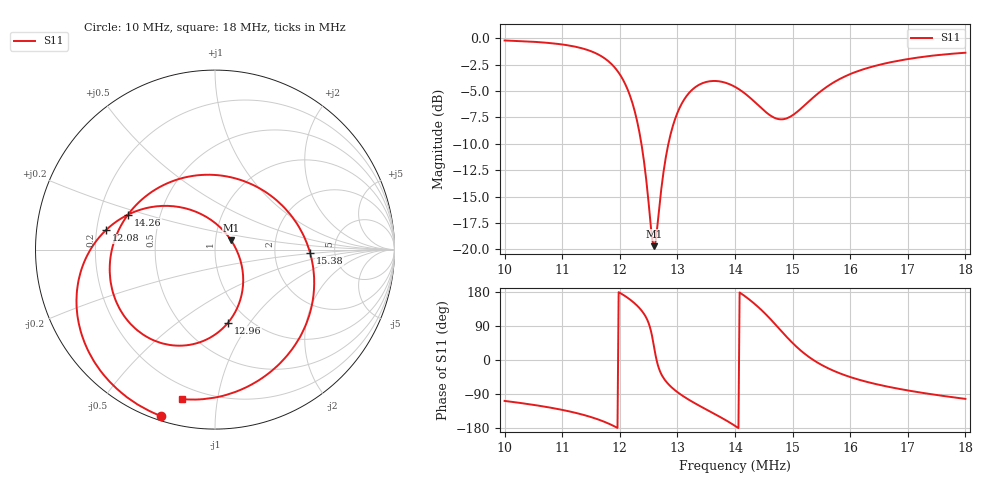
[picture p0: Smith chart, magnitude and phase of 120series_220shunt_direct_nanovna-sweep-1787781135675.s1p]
! NanoVNA Web complex sweep
! Processing: original sample grid, no browser smoothing
# Hz S RI R 50
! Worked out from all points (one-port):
!   401 points, 10 MHz to 18 MHz, reference 50 ohm
!   lowest |S11| = -19.7 dB at 12.6 MHz (marker M1), VSWR 1.23, Z = 59.5 + j6.21 ohm
!   |S11| at or under -10 dB: 12.38 MHz to 12.84 MHz (468.8 kHz wide, 3.72 % of centre)
!   S11 on the Smith chart (normalised r, x): 10 MHz: 0.02, -0.73; 12.08 MHz: 0.24, +0.08; 12.96 MHz: 0.81, -0.79; 14.26 MHz: 0.32, +0.17; 15.38 MHz: 3.25, -0.16; 18 MHz: 0.13, -0.79
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1e7  -0.3012 -0.9277
1.1e7  -0.6204 -0.6979
1.162e7  -0.7701 -0.3326
1.182e7  -0.7553 -0.1501
1.2e7  -0.6735 0.0315
1.208e7  -0.6078 0.1083
1.224e7  -0.4156 0.2223
1.236e7  -0.2316 0.2416
1.256e7  0.0509 0.1015
1.26e7  0.0897 0.0516
1.276e7  0.1572 -0.1729
1.296e7  0.072 -0.4081
1.3e7  0.0406 -0.441
1.32e7  -0.1423 -0.5308
1.344e7  -0.3568 -0.4985
1.374e7  -0.5415 -0.3097
1.4e7  -0.5847 -0.0646
1.426e7  -0.4852 0.1942
1.446e7  -0.3104 0.3473
1.464e7  -0.1024 0.4135
1.482e7  0.1158 0.3961
1.5e7  0.3061 0.304
1.538e7  0.5297 -0.0176
1.566e7  0.5486 -0.255
1.6e7  0.4783 -0.4783
1.646e7  0.3252 -0.6677
1.7e7  0.1343 -0.7849
1.8e7  -0.1859 -0.8328
